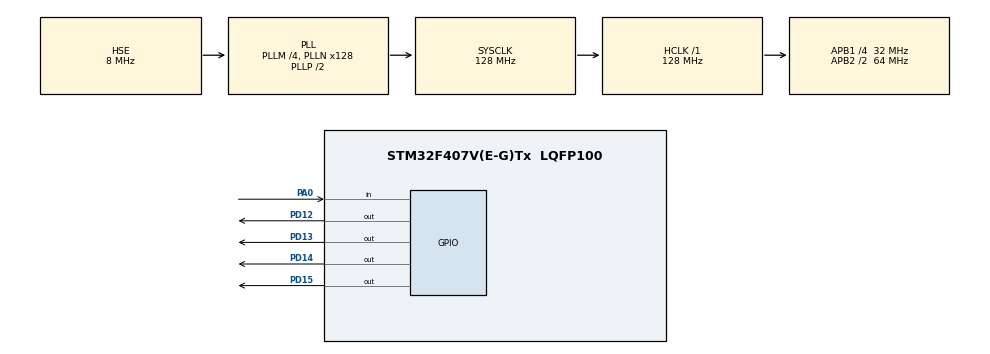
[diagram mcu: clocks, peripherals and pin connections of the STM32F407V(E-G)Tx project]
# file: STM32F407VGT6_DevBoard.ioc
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FREERTOS.Tasks01=defaultTask,24,128,StartDefaultTask,Default,NULL,Dynamic,NULL,NULL
FREERTOS.configUSE_NEWLIB_REENTRANT=1
Mcu.Family=STM32F4
Mcu.Name=STM32F407V(E-G)Tx
Mcu.Package=LQFP100
NVIC.PriorityGroup=NVIC_PRIORITYGROUP_4
NVIC.TIM6_DAC_IRQn=true\:15\:0\:false\:false\:true\:false\:false\:true
NVIC.TimeBase=TIM6_DAC_IRQn
NVIC.TimeBaseIP=TIM6
PA0-WKUP.Signal=GPIO_Input
PA13.Mode=Serial_Wire
PA13.Signal=SYS_JTMS-SWDIO
PA14.Mode=Serial_Wire
PA14.Signal=SYS_JTCK-SWCLK
PD12.Signal=GPIO_Output
PD13.Signal=GPIO_Output
PD14.Signal=GPIO_Output
PD15.Signal=GPIO_Output
PH0-OSC_IN.Mode=HSE-External-Oscillator
PH0-OSC_IN.Signal=RCC_OSC_IN
PH1-OSC_OUT.Mode=HSE-External-Oscillator
PH1-OSC_OUT.Signal=RCC_OSC_OUT
ProjectManager.HeapSize=0x200
ProjectManager.StackSize=0x400
ProjectManager.TargetToolchain=STM32CubeIDE
RCC.48MHZClocksFreq_Value=64000000
RCC.AHBFreq_Value=128000000
RCC.APB1CLKDivider=RCC_HCLK_DIV4
RCC.APB1Freq_Value=32000000
RCC.APB1TimFreq_Value=64000000
RCC.APB2CLKDivider=RCC_HCLK_DIV2
RCC.APB2Freq_Value=64000000
RCC.APB2TimFreq_Value=128000000
RCC.CortexFreq_Value=128000000
RCC.HCLKFreq_Value=128000000
RCC.HSE_VALUE=8000000
RCC.HSI_VALUE=16000000
RCC.LSE_VALUE=32768
RCC.PLLM=4
RCC.PLLN=128
RCC.PLLSourceVirtual=RCC_PLLSOURCE_HSE
RCC.SYSCLKFreq_VALUE=128000000
RCC.SYSCLKSource=RCC_SYSCLKSOURCE_PLLCLK
RCC.VCOOutputFreq_Value=256000000
VP_FREERTOS_VS_CMSIS_V2.Mode=CMSIS_V2
VP_SYS_VS_tim6.Mode=TIM6
board=custom

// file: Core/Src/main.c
/* USER CODE BEGIN Header */
/**
  ******************************************************************************
  * @file           : main.c
  * @brief          : Main program body
  ******************************************************************************
  * @attention
  *
  * Copyright (c) 2025 STMicroelectronics.
  * All rights reserved.
  *
  * This software is licensed under terms that can be found in the LICENSE file
  * in the root directory of this software component.
  * If no LICENSE file comes with this software, it is provided AS-IS.
  *
  ******************************************************************************
  */
/* USER CODE END Header */
#include "main.h"
#include "cmsis_os.h"

/* USER CODE BEGIN Includes */
#include "main_app.h"
/* USER CODE END Includes */

/* Definitions for defaultTask */
osThreadId_t defaultTaskHandle;
const osThreadAttr_t defaultTask_attributes = {
  .name = "defaultTask",
  .stack_size = 128 * 4,
  .priority = (osPriority_t) osPriorityNormal,
};
/* USER CODE BEGIN PV */
GPIO_Properties_t led_1			= {.port = GPIOD, .pin = GPIO_PIN_12};
GPIO_Properties_t led_2			= {.port = GPIOD, .pin = GPIO_PIN_13};
GPIO_Properties_t led_3			= {.port = GPIOD, .pin = GPIO_PIN_14};
GPIO_Properties_t led_4			= {.port = GPIOD, .pin = GPIO_PIN_15};
GPIO_Properties_t push_button	= {.port = GPIOA, .pin = GPIO_PIN_0};

PushButton_Properties_t user_button[]	= {{.status = BUTTON_OFF, .orientation = ACTIVE_PULL_DOWN, .line = &push_button, .callback = NULL}};
LEDIndicator_Properties_t leds[]	= {
		{.state = LED_OFF, .orientation = ACTIVE_HIGH, .line = &led_1},
		{.state = LED_OFF, .orientation = ACTIVE_HIGH, .line = &led_2},
		{.state = LED_OFF, .orientation = ACTIVE_HIGH, .line = &led_3},
		{.state = LED_OFF, .orientation = ACTIVE_HIGH, .line = &led_4}
};
/* USER CODE END PV */

void SystemClock_Config(void);
static void MX_GPIO_Init(void);
void StartDefaultTask(void *argument);

int main(void)
{

  /* MCU Configuration--------------------------------------------------------*/

  /* Reset of all peripherals, Initializes the Flash interface and the Systick. */
  HAL_Init();

  /* Configure the system clock */
  SystemClock_Config();

  /* Initialize all configured peripherals */
  MX_GPIO_Init();

  /* Init scheduler */
  osKernelInitialize();

  /* Create the thread(s) */
  /* creation of defaultTask */
  defaultTaskHandle = osThreadNew(StartDefaultTask, NULL, &defaultTask_attributes);

  /* Start scheduler */
  osKernelStart();

  /* We should never get here as control is now taken by the scheduler */
  /* Infinite loop */
  while (1)
  {

  }
}

void SystemClock_Config(void)
{
  RCC_OscInitTypeDef RCC_OscInitStruct = {0};
  RCC_ClkInitTypeDef RCC_ClkInitStruct = {0};

  /** Configure the main internal regulator output voltage
  */
  __HAL_RCC_PWR_CLK_ENABLE();
  __HAL_PWR_VOLTAGESCALING_CONFIG(PWR_REGULATOR_VOLTAGE_SCALE1);
  /** Initializes the RCC Oscillators according to the specified parameters
  * in the RCC_OscInitTypeDef structure.
  */
  RCC_OscInitStruct.OscillatorType = RCC_OSCILLATORTYPE_HSE;
  RCC_OscInitStruct.HSEState = RCC_HSE_ON;
  RCC_OscInitStruct.PLL.PLLState = RCC_PLL_ON;
  RCC_OscInitStruct.PLL.PLLSource = RCC_PLLSOURCE_HSE;
  RCC_OscInitStruct.PLL.PLLM = 4;
  RCC_OscInitStruct.PLL.PLLN = 128;
  RCC_OscInitStruct.PLL.PLLP = RCC_PLLP_DIV2;
  RCC_OscInitStruct.PLL.PLLQ = 4;
  if (HAL_RCC_OscConfig(&RCC_OscInitStruct) != HAL_OK)
  {
    Error_Handler();
  }
  /** Initializes the CPU, AHB and APB buses clocks
  */
  RCC_ClkInitStruct.ClockType = RCC_CLOCKTYPE_HCLK|RCC_CLOCKTYPE_SYSCLK
                              |RCC_CLOCKTYPE_PCLK1|RCC_CLOCKTYPE_PCLK2;
  RCC_ClkInitStruct.SYSCLKSource = RCC_SYSCLKSOURCE_PLLCLK;
  RCC_ClkInitStruct.AHBCLKDivider = RCC_SYSCLK_DIV1;
  RCC_ClkInitStruct.APB1CLKDivider = RCC_HCLK_DIV4;
  RCC_ClkInitStruct.APB2CLKDivider = RCC_HCLK_DIV2;

  if (HAL_RCC_ClockConfig(&RCC_ClkInitStruct, FLASH_LATENCY_4) != HAL_OK)
  {
    Error_Handler();
  }
}

static void MX_GPIO_Init(void)
{
  GPIO_InitTypeDef GPIO_InitStruct = {0};

  /* GPIO Ports Clock Enable */
  __HAL_RCC_GPIOH_CLK_ENABLE();
  __HAL_RCC_GPIOA_CLK_ENABLE();
  __HAL_RCC_GPIOD_CLK_ENABLE();

  /*Configure GPIO pin Output Level */
  HAL_GPIO_WritePin(GPIOD, GPIO_PIN_12|GPIO_PIN_13|GPIO_PIN_14|GPIO_PIN_15, GPIO_PIN_RESET);

  /*Configure GPIO pin : PA0 */
  GPIO_InitStruct.Pin = GPIO_PIN_0;
  GPIO_InitStruct.Mode = GPIO_MODE_INPUT;
  GPIO_InitStruct.Pull = GPIO_NOPULL;
  HAL_GPIO_Init(GPIOA, &GPIO_InitStruct);

  /*Configure GPIO pins : PD12 PD13 PD14 PD15 */
  GPIO_InitStruct.Pin = GPIO_PIN_12|GPIO_PIN_13|GPIO_PIN_14|GPIO_PIN_15;
  GPIO_InitStruct.Mode = GPIO_MODE_OUTPUT_PP;
  GPIO_InitStruct.Pull = GPIO_NOPULL;
  GPIO_InitStruct.Speed = GPIO_SPEED_FREQ_LOW;
  HAL_GPIO_Init(GPIOD, &GPIO_InitStruct);

}

void StartDefaultTask(void *argument) {
	/* USER CODE BEGIN 5 */
	/* Infinite loop */
	while(1) {
#if 1
		for(uint16_t index = 0; index < (sizeof(user_button) / sizeof(PushButton_Properties_t)); index++) {
			if(user_button[index].line != NULL) {
				if(HAL_GPIO_ReadPin(user_button[index].line->port, user_button[index].line->pin) == (user_button[index].orientation == ACTIVE_PULL_UP) ? GPIO_PIN_SET : GPIO_PIN_RESET) {
					switch(user_button[index].status) {
					case BUTTON_OFF : {
						user_button[index].status		= BUTTON_PUSHED;
						user_button[index].delay		= HAL_GetTick();
						break;
					}
					case BUTTON_PUSHED : {
						if((HAL_GetTick() - user_button[index].delay) >= PUSH_BUTTON_DEBOUNCE_DELAY) {
							user_button[index].status	= BUTTON_LOCK;
							if(user_button[index].callback != NULL)
								user_button[index].callback(NULL);
						}
						break;
					}
					case BUTTON_LOCK :
					default : {break;}
					}
				}
				else if(HAL_GPIO_ReadPin(user_button[index].line->port, user_button[index].line->pin) == (user_button[index].orientation == ACTIVE_PULL_UP) ? GPIO_PIN_RESET : GPIO_PIN_SET) {
					if(user_button[index].status != BUTTON_OFF)
						user_button[index].status		= BUTTON_OFF;
				}
			}
		}
#endif

#if 1
		for (uint16_t index = 0; index < (sizeof(leds) / sizeof(LEDIndicator_Properties_t)); index++) {
			if(leds[index].line != NULL) {
				switch(leds[index].state) {
					case LED_ON : {
						if(HAL_GPIO_ReadPin(leds[index].line->port, leds[index].line->pin) == (leds[index].orientation == ACTIVE_LOW) ? GPIO_PIN_SET : GPIO_PIN_RESET)
							HAL_GPIO_WritePin(leds[index].line->port, leds[index].line->pin, (leds[index].orientation == ACTIVE_LOW) ? GPIO_PIN_RESET : GPIO_PIN_SET);
						break;
					}
					case LED_BLINK : {
						if((HAL_GPIO_ReadPin(leds[index].line->port, leds[index].line->pin) == (leds[index].orientation == ACTIVE_LOW) ? GPIO_PIN_SET : GPIO_PIN_RESET) && ((HAL_GetTick() - leds[index].delay) >= LED_BLINK_OFF_DELAY)) {
							leds[index].delay	= HAL_GetTick();
							HAL_GPIO_WritePin(leds[index].line->port, leds[index].line->pin, (leds[index].orientation == ACTIVE_LOW) ? GPIO_PIN_RESET : GPIO_PIN_SET);
						}
						else if((HAL_GPIO_ReadPin(leds[index].line->port, leds[index].line->pin) == (leds[index].orientation == ACTIVE_LOW) ? GPIO_PIN_RESET : GPIO_PIN_SET) && ((HAL_GetTick() - leds[index].delay) >= LED_BLINK_ON_DELAY)) {
							leds[index].delay	= HAL_GetTick();
							HAL_GPIO_WritePin(leds[index].line->port, leds[index].line->pin, (leds[index].orientation == ACTIVE_LOW) ? GPIO_PIN_SET : GPIO_PIN_RESET);
						}
						break;
					}
					case LED_OFF :
					default : {
						if(HAL_GPIO_ReadPin(leds[index].line->port, leds[index].line->pin) == (leds[index].orientation == ACTIVE_LOW) ? GPIO_PIN_RESET : GPIO_PIN_SET)
							HAL_GPIO_WritePin(leds[index].line->port, leds[index].line->pin, (leds[index].orientation == ACTIVE_LOW) ? GPIO_PIN_SET : GPIO_PIN_RESET);
						break;
					}
				}
			}
			else continue;
		}
#endif
		osDelay(1U);
	}
	/* USER CODE END 5 */
}

void HAL_TIM_PeriodElapsedCallback(TIM_HandleTypeDef *htim)
{
  if (htim->Instance == TIM6) {
    HAL_IncTick();
  }
}

void Error_Handler(void)
{
  __disable_irq();
  while (1)
  {
  }
}
